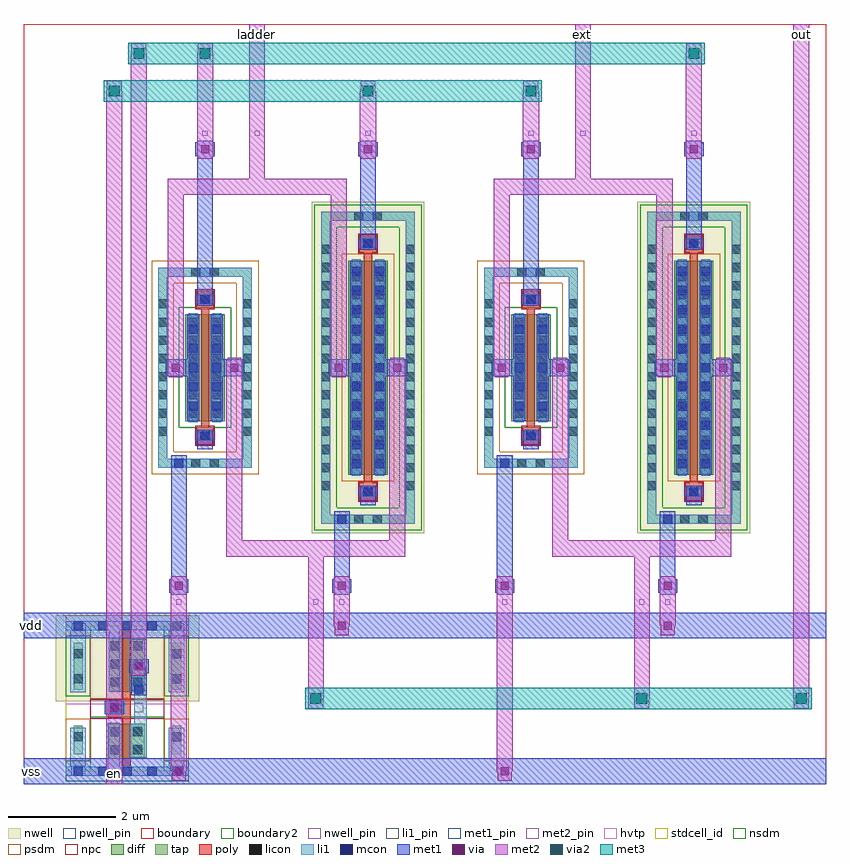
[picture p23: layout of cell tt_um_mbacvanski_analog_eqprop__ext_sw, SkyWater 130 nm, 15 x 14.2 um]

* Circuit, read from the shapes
.subckt tt_um_mbacvanski_analog_eqprop__ext_sw en ext ladder out vdd vss
XM1 sky130_fd_sc_hd__inv_1_2/Y en vss vss sky130_fd_pr__nfet_01v8 w=0.65 l=0.15
XM2 out sky130_fd_sc_hd__inv_1_2/Y ladder vss sky130_fd_pr__nfet_01v8 w=2 l=0.15
XM3 out en ext vss sky130_fd_pr__nfet_01v8 w=2 l=0.15
XM4 sky130_fd_sc_hd__inv_1_2/Y en vdd vdd sky130_fd_pr__pfet_01v8_hvt w=1 l=0.15
XM5 out en ladder vdd sky130_fd_pr__pfet_01v8 w=4 l=0.15
XM6 out sky130_fd_sc_hd__inv_1_2/Y ext vdd sky130_fd_pr__pfet_01v8 w=4 l=0.15
.ends

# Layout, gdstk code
import gdstk
lib = gdstk.Library(unit=1e-6, precision=1e-09)
def R(c, l, rs):  # rectangles x0, y0, x1, y1
    for r in rs: c.add(gdstk.rectangle(r[:2], r[2:], *l))
def A(c, l, x, y, w, h, nx, ny, dx, dy):  # array of equal rectangles
    R(c, l, [(x+i*dx, y+j*dy, x+i*dx+w, y+j*dy+h) for i in range(nx) for j in range(ny)])
def P(c, l, *ps):  # polygons
    for p in ps: c.add(gdstk.Polygon(p, *l))
nwell_pin = (64, 16)
nwell = (64, 20)
diff = (65, 20)
tap = (65, 44)
poly = (66, 20)
licon = (66, 44)
li1_pin = (67, 16)
li1 = (67, 20)
mcon = (67, 44)
met1_pin = (68, 16)
met1 = (68, 20)
via = (68, 44)
met2_pin = (69, 16)
met2 = (69, 20)
via2 = (69, 44)
met3 = (70, 20)
hvtp = (78, 44)
stdcell_id = (81, 4)
nsdm = (93, 44)
psdm = (94, 20)
npc = (95, 20)
pwell_pin = (122, 16)
boundary = (235, 4)
boundary2 = (236, 0)

sky130_fd_sc_hd__tapvpwr = lib.new_cell('sky130_fd_sc_hd__tapvpwrvgnd_1')
R(sky130_fd_sc_hd__tapvpwr, nwell, [(-0.19,1.305,0.65,2.91)])
R(sky130_fd_sc_hd__tapvpwr, tap, [(0.145,0.32,0.315,0.845), (0.145,1.525,0.315,2.4)])
R(sky130_fd_sc_hd__tapvpwr, licon, [(0.145,0.555,0.315,0.725), (0.145,1.645,0.315,1.815), (0.145,2.11,0.315,2.28)])
R(sky130_fd_sc_hd__tapvpwr, li1, [(0,-0.085,0.46,0.085), (0.085,0,0.375,0.81), (0.085,1.47,0.375,2.72), (0,2.635,0.46,2.805)])
R(sky130_fd_sc_hd__tapvpwr, mcon, [(0.145,-0.085,0.315,0.085), (0.145,2.635,0.315,2.805)])
R(sky130_fd_sc_hd__tapvpwr, met1_pin, [(0.105,-0.09,0.36,0.1), (0.11,2.62,0.375,2.765)])
R(sky130_fd_sc_hd__tapvpwr, met1, [(0,-0.24,0.46,0.24), (0,2.48,0.46,2.96)])
R(sky130_fd_sc_hd__tapvpwr, hvtp, [(0,1.25,0.46,2.72)])
R(sky130_fd_sc_hd__tapvpwr, stdcell_id, [(0,0,0.46,2.72)])
R(sky130_fd_sc_hd__tapvpwr, nsdm, [(0,-0.19,0.46,0.19), (0,1.395,0.46,2.53)])
R(sky130_fd_sc_hd__tapvpwr, psdm, [(0,0.19,0.46,0.975), (0,2.53,0.46,2.91)])
sky130_fd_sc_hd__tapvpwr.add(gdstk.Label('VGND', (0.23,0), layer=68, texttype=5))
sky130_fd_sc_hd__tapvpwr.add(gdstk.Label('VPWR', (0.23,2.72), layer=68, texttype=5))
sky130_fd_sc_hd__tapvpwr.add(gdstk.Label('tapvpwrvgnd_1', (0,0), layer=83, texttype=44))

sky130_fd_sc_hd__inv_1 = lib.new_cell('sky130_fd_sc_hd__inv_1')
R(sky130_fd_sc_hd__inv_1, nwell_pin, [(0.145,2.635,0.315,2.805), (0.145,2.635,0.315,2.805)])
R(sky130_fd_sc_hd__inv_1, nwell, [(-0.19,1.305,1.57,2.91)])
R(sky130_fd_sc_hd__inv_1, diff, [(0.34,0.235,1.01,0.885), (0.34,1.485,1.01,2.485)])
P(sky130_fd_sc_hd__inv_1, poly, [(0.6,0.105),(0.6,0.995),(0.32,0.995),(0.32,1.325),(0.6,1.325),(0.6,2.615),(0.75,2.615),(0.75,0.105)])
A(sky130_fd_sc_hd__inv_1, licon, 0.38, 1.575, 0.17, 0.17, 1, 3, 0, 0.34)
A(sky130_fd_sc_hd__inv_1, licon, 0.8, 1.575, 0.17, 0.17, 1, 3, 0, 0.34)
R(sky130_fd_sc_hd__inv_1, licon, [(0.38,0.315,0.55,0.485), (0.8,0.315,0.97,0.485), (0.38,0.655,0.55,0.825), (0.8,0.655,0.97,0.825), (0.4,1.075,0.57,1.245)])
R(sky130_fd_sc_hd__inv_1, li1_pin, [(0.36,1.105,0.53,1.275), (0.82,1.105,0.99,1.275), (0.82,1.445,0.99,1.615)])
R(sky130_fd_sc_hd__inv_1, li1, [(0,-0.085,1.38,0.085), (0.32,0.005,0.55,0.905), (0.32,1.075,0.65,1.315), (0.34,1.495,0.55,2.675), (0,2.635,1.38,2.805)])
P(sky130_fd_sc_hd__inv_1, li1, [(0.72,0.255),(0.72,0.885),(0.82,0.885),(0.82,1.485),(0.72,1.485),(0.72,2.465),(1.05,2.465),(1.05,0.255)])
A(sky130_fd_sc_hd__inv_1, mcon, 0.145, -0.085, 0.17, 0.17, 3, 2, 0.46, 2.72)
R(sky130_fd_sc_hd__inv_1, met1_pin, [(0.145,-0.085,0.315,0.085), (0.145,-0.085,0.315,0.085), (0.145,2.635,0.315,2.805), (0.145,2.635,0.315,2.805)])
R(sky130_fd_sc_hd__inv_1, hvtp, [(0,1.25,1.38,2.72)])
R(sky130_fd_sc_hd__inv_1, stdcell_id, [(0,0,1.38,2.72)])
R(sky130_fd_sc_hd__inv_1, nsdm, [(0,-0.19,1.38,1.015)])
R(sky130_fd_sc_hd__inv_1, psdm, [(0,1.355,1.38,2.91)])
R(sky130_fd_sc_hd__inv_1, npc, [(0,0.975,1.38,1.345)])
R(sky130_fd_sc_hd__inv_1, pwell_pin, [(0.145,-0.085,0.315,0.085), (0.145,-0.085,0.315,0.085)])
R(sky130_fd_sc_hd__inv_1, boundary2, [(0,0,1.38,2.72)])
sky130_fd_sc_hd__inv_1.add(gdstk.FlexPath([(0,0),(1.38,0)], 0.48, ends="flush", simple_path=True, layer=68, datatype=20))  # met1
sky130_fd_sc_hd__inv_1.add(gdstk.FlexPath([(0,2.72),(1.38,2.72)], 0.48, ends="flush", simple_path=True, layer=68, datatype=20))  # met1
sky130_fd_sc_hd__inv_1.add(gdstk.Label('A', (0.445,1.19), layer=67, texttype=5))
sky130_fd_sc_hd__inv_1.add(gdstk.Label('Y', (0.905,1.19), layer=67, texttype=5))
sky130_fd_sc_hd__inv_1.add(gdstk.Label('Y', (0.905,1.53), layer=67, texttype=5))
sky130_fd_sc_hd__inv_1.add(gdstk.Label('VPWR', (0.23,2.72), layer=68, texttype=5))
sky130_fd_sc_hd__inv_1.add(gdstk.Label('VGND', (0.23,0), layer=68, texttype=5))
sky130_fd_sc_hd__inv_1.add(gdstk.Label('inv_1', (0,0), layer=83, texttype=44))
sky130_fd_sc_hd__inv_1.add(gdstk.Label('VPB', (0.23,2.72), layer=64, texttype=5))
sky130_fd_sc_hd__inv_1.add(gdstk.Label('VNB', (0.23,0), layer=64, texttype=59))

tt_um_mbacvanski_analog_ = lib.new_cell('tt_um_mbacvanski_analog_eqprop__cp_tgn1')
R(tt_um_mbacvanski_analog_, diff, [(-0.365,-1,0.365,1)])
R(tt_um_mbacvanski_analog_, tap, [(-0.875,-1.87,0.875,-1.7), (-0.875,-1.7,-0.705,1.7), (0.705,-1.7,0.875,1.7), (-0.875,1.7,0.875,1.87)])
R(tt_um_mbacvanski_analog_, poly, [(-0.165,-1.44,0.165,-1.11), (-0.075,-1.11,0.075,1.11), (-0.165,1.11,0.165,1.44)])
A(tt_um_mbacvanski_analog_, licon, -0.875, -1.275, 0.17, 0.17, 1, 8, 0, 0.34)
A(tt_um_mbacvanski_analog_, licon, 0.705, -1.275, 0.17, 0.17, 1, 8, 0, 0.34)
A(tt_um_mbacvanski_analog_, licon, -0.305, -0.935, 0.17, 0.17, 1, 6, 0, 0.34)
A(tt_um_mbacvanski_analog_, licon, 0.135, -0.935, 0.17, 0.17, 1, 6, 0, 0.34)
R(tt_um_mbacvanski_analog_, licon, [(-0.255,-1.87,-0.085,-1.7), (0.085,-1.87,0.255,-1.7), (-0.085,-1.36,0.085,-1.19), (-0.085,1.19,0.085,1.36), (-0.255,1.7,-0.085,1.87), (0.085,1.7,0.255,1.87)])
R(tt_um_mbacvanski_analog_, li1, [(-0.875,-1.87,0.875,-1.7), (-0.875,-1.7,-0.705,1.7), (0.705,-1.7,0.875,1.7), (-0.165,-1.36,0.165,-1.19), (-0.305,-1.02,-0.135,1.02), (0.135,-1.02,0.305,1.02), (-0.165,1.19,0.165,1.36), (-0.875,1.7,0.875,1.87)])
A(tt_um_mbacvanski_analog_, mcon, -0.305, -0.805, 0.17, 0.17, 1, 5, 0, 0.36)
A(tt_um_mbacvanski_analog_, mcon, 0.135, -0.805, 0.17, 0.17, 1, 5, 0, 0.36)
R(tt_um_mbacvanski_analog_, mcon, [(-0.085,-1.36,0.085,-1.19), (-0.085,1.19,0.085,1.36)])
R(tt_um_mbacvanski_analog_, met1, [(-0.145,-1.39,0.145,-1.16), (-0.335,-1,-0.105,1), (0.105,-1,0.335,1), (-0.145,1.16,0.145,1.39)])
R(tt_um_mbacvanski_analog_, nsdm, [(-0.49,-1.125,0.49,1.125)])
R(tt_um_mbacvanski_analog_, psdm, [(-1,-1.995,1,-1.575), (-1,-1.575,-0.58,1.575), (0.58,-1.575,1,1.575), (-1,1.575,1,1.995)])
R(tt_um_mbacvanski_analog_, npc, [(-0.185,-1.46,0.185,-1.09), (-0.185,1.09,0.185,1.46)])
R(tt_um_mbacvanski_analog_, boundary, [(-0.79,-1.785,0.79,1.785)])
tt_um_mbacvanski_analog_.add(gdstk.Label('G', (0,1.275), layer=67, texttype=5))
tt_um_mbacvanski_analog_.add(gdstk.Label('S', (0.22,0), layer=67, texttype=5))
tt_um_mbacvanski_analog_.add(gdstk.Label('D', (-0.22,0), layer=67, texttype=5))
tt_um_mbacvanski_analog_.add(gdstk.Label('B', (0,-1.785), layer=67, texttype=5))

c_tt_um_mbacvanski_analog_ = lib.new_cell('tt_um_mbacvanski_analog_eqprop__cp_tgp1')
R(c_tt_um_mbacvanski_analog_, nwell, [(-1.055,-3.095,1.055,3.095)])
R(c_tt_um_mbacvanski_analog_, diff, [(-0.365,-2,0.365,2)])
R(c_tt_um_mbacvanski_analog_, tap, [(-0.875,-2.915,0.875,-2.745), (-0.875,-2.745,-0.705,2.745), (0.705,-2.745,0.875,2.745), (-0.875,2.745,0.875,2.915)])
R(c_tt_um_mbacvanski_analog_, poly, [(-0.165,-2.485,0.165,-2.155), (-0.075,-2.155,0.075,2.155), (-0.165,2.155,0.165,2.485)])
A(c_tt_um_mbacvanski_analog_, licon, -0.875, -2.295, 0.17, 0.17, 1, 14, 0, 0.34)
A(c_tt_um_mbacvanski_analog_, licon, 0.705, -2.295, 0.17, 0.17, 1, 14, 0, 0.34)
A(c_tt_um_mbacvanski_analog_, licon, -0.305, -1.785, 0.17, 0.17, 1, 11, 0, 0.34)
A(c_tt_um_mbacvanski_analog_, licon, 0.135, -1.785, 0.17, 0.17, 1, 11, 0, 0.34)
R(c_tt_um_mbacvanski_analog_, licon, [(-0.255,-2.915,-0.085,-2.745), (0.085,-2.915,0.255,-2.745), (-0.085,-2.405,0.085,-2.235), (-0.085,2.235,0.085,2.405), (-0.255,2.745,-0.085,2.915), (0.085,2.745,0.255,2.915)])
R(c_tt_um_mbacvanski_analog_, li1, [(-0.875,-2.915,0.875,-2.745), (-0.875,-2.745,-0.705,2.745), (0.705,-2.745,0.875,2.745), (-0.165,-2.405,0.165,-2.235), (-0.305,-2.02,-0.135,2.02), (0.135,-2.02,0.305,2.02), (-0.165,2.235,0.165,2.405), (-0.875,2.745,0.875,2.915)])
A(c_tt_um_mbacvanski_analog_, mcon, -0.305, -1.885, 0.17, 0.17, 1, 11, 0, 0.36)
A(c_tt_um_mbacvanski_analog_, mcon, 0.135, -1.885, 0.17, 0.17, 1, 11, 0, 0.36)
R(c_tt_um_mbacvanski_analog_, mcon, [(-0.085,-2.405,0.085,-2.235), (-0.085,2.235,0.085,2.405)])
R(c_tt_um_mbacvanski_analog_, met1, [(-0.145,-2.435,0.145,-2.205), (-0.335,-2,-0.105,2), (0.105,-2,0.335,2), (-0.145,2.205,0.145,2.435)])
R(c_tt_um_mbacvanski_analog_, nsdm, [(-1,-3.04,1,-2.62), (-1,-2.62,-0.58,2.62), (0.58,-2.62,1,2.62), (-1,2.62,1,3.04)])
R(c_tt_um_mbacvanski_analog_, psdm, [(-0.49,-2.125,0.49,2.125)])
R(c_tt_um_mbacvanski_analog_, npc, [(-0.185,-2.505,0.185,-2.135), (-0.185,2.135,0.185,2.505)])
R(c_tt_um_mbacvanski_analog_, boundary, [(-0.79,-2.83,0.79,2.83)])
c_tt_um_mbacvanski_analog_.add(gdstk.Label('G', (0,2.32), layer=67, texttype=5))
c_tt_um_mbacvanski_analog_.add(gdstk.Label('S', (0.22,0), layer=67, texttype=5))
c_tt_um_mbacvanski_analog_.add(gdstk.Label('D', (-0.22,0), layer=67, texttype=5))
c_tt_um_mbacvanski_analog_.add(gdstk.Label('B', (0,-2.83), layer=67, texttype=5))

c_tt_um_mbacvanski_analog__ = lib.new_cell('tt_um_mbacvanski_analog_eqprop__cp_tg1')
R(c_tt_um_mbacvanski_analog__, li1, [(3.86,1.665,4.03,1.835), (0.815,2.71,0.985,2.88)])
R(c_tt_um_mbacvanski_analog__, mcon, [(3.86,1.665,4.03,1.835), (0.815,2.71,0.985,2.88)])
R(c_tt_um_mbacvanski_analog__, met1, [(0.755,0.34,1.045,0.37), (3.8,0.34,4.09,0.37), (0.72,0.37,1.08,0.63), (3.765,0.37,4.125,0.63), (0.755,0.63,1.045,2.94), (3.8,0.63,4.09,1.895), (4.29,2.01,4.58,2.375), (1.245,3.055,1.535,3.42), (0.68,4.42,1.285,4.45), (1.495,4.42,2.1,4.45), (3.725,4.42,4.33,4.45), (4.54,4.42,5.145,4.45), (0.66,4.45,1.285,4.71), (1.495,4.45,2.12,4.71), (3.705,4.45,4.33,4.71), (4.54,4.45,5.165,4.71), (0.68,4.71,1.285,4.74), (1.495,4.71,2.1,4.74), (3.725,4.71,4.33,4.74), (4.54,4.71,5.145,4.74), (1.245,5.74,1.535,8.53), (4.29,6.785,4.58,8.53), (1.21,8.53,1.57,8.79), (4.255,8.53,4.615,8.79), (1.245,8.79,1.535,8.82), (4.29,8.79,4.58,8.82)])
R(c_tt_um_mbacvanski_analog__, via, [(0.825,0.425,0.975,0.575), (3.87,0.425,4.02,0.575), (0.765,4.505,0.915,4.655), (1.865,4.505,2.015,4.655), (3.81,4.505,3.96,4.655), (4.91,4.505,5.06,4.655), (1.315,8.585,1.465,8.735), (4.36,8.585,4.51,8.735)])
R(c_tt_um_mbacvanski_analog__, met2_pin, [(0.85,0.15,0.95,0.25), (3.415,0.15,3.51,0.25), (3.895,0.15,3.995,0.25), (1.34,8.91,1.44,9.01), (2.315,8.91,2.41,9.01), (4.385,8.91,4.485,9.01)])
R(c_tt_um_mbacvanski_analog__, met2, [(0.75,-0.15,1.05,0.65), (3.315,-0.15,3.61,1.05), (3.795,-0.15,4.095,0.65), (0.77,0.65,1.03,0.68), (3.815,0.65,4.075,0.68), (1.79,1.05,5.135,1.35), (1.79,1.35,2.09,4.73), (4.835,1.35,5.135,4.73), (0.71,4.4,0.97,4.43), (3.755,4.4,4.015,4.43), (0.69,4.43,0.99,7.81), (3.735,4.43,4.035,7.81), (1.81,4.73,2.07,4.76), (4.855,4.73,5.115,4.76), (0.69,7.81,4.035,8.11), (2.215,8.11,2.51,9.31), (1.26,8.48,1.52,8.51), (4.305,8.48,4.565,8.51), (1.24,8.51,1.54,9.31), (4.285,8.51,4.585,9.31)])
R(c_tt_um_mbacvanski_analog__, boundary, [(0,0,6.09,9.16)])
c_tt_um_mbacvanski_analog__.add(gdstk.Reference(tt_um_mbacvanski_analog_, (1.39,4.58)))
c_tt_um_mbacvanski_analog__.add(gdstk.Reference(c_tt_um_mbacvanski_analog_, (4.435,4.58)))
c_tt_um_mbacvanski_analog__.add(gdstk.Label('vss', (0.9,0.2), layer=69, texttype=5))
c_tt_um_mbacvanski_analog__.add(gdstk.Label('vdd', (3.945,0.2), layer=69, texttype=5))
c_tt_um_mbacvanski_analog__.add(gdstk.Label('en_b', (4.435,8.96), layer=69, texttype=5))
c_tt_um_mbacvanski_analog__.add(gdstk.Label('en', (1.39,8.96), layer=69, texttype=5))
c_tt_um_mbacvanski_analog__.add(gdstk.Label('b', (3.462,0.2), layer=69, texttype=5))
c_tt_um_mbacvanski_analog__.add(gdstk.Label('a', (2.362,8.96), layer=69, texttype=5))

c_tt_um_mbacvanski_analog___ = lib.new_cell('tt_um_mbacvanski_analog_eqprop__ext_sw')
R(c_tt_um_mbacvanski_analog___, li1, [(1.61,1.345,1.78,1.515), (2.07,1.685,2.24,1.855)])
R(c_tt_um_mbacvanski_analog___, mcon, [(1.61,1.345,1.78,1.515), (2.07,1.685,2.24,1.855)])
R(c_tt_um_mbacvanski_analog___, met1_pin, [(0.1,0.19,0.2,0.29), (0.1,2.91,0.2,3.01)])
R(c_tt_um_mbacvanski_analog___, met1, [(0,0,15,0.48), (1.515,1.3,1.875,1.56), (2.01,1.655,2.3,2.07), (1.975,2.07,2.335,2.33), (0,2.72,15,3.2)])
R(c_tt_um_mbacvanski_analog___, via, [(2.825,0.165,2.975,0.315), (8.915,0.165,9.065,0.315), (1.62,1.355,1.77,1.505), (2.08,2.125,2.23,2.275), (5.87,2.885,6.02,3.035), (11.96,2.885,12.11,3.035)])
R(c_tt_um_mbacvanski_analog___, met2_pin, [(1.645,0.15,1.745,0.25), (4.31,13.95,4.41,14.05), (10.4,13.95,10.5,14.05), (14.48,13.95,14.58,14.05)])
R(c_tt_um_mbacvanski_analog___, met2, [(1.545,0,1.845,12.95), (2.77,0.06,3.03,0.24), (8.86,0.06,9.12,0.24), (2.75,0.24,3.05,3.05), (8.84,0.24,9.14,3.05), (5.32,1.41,5.6,1.6), (11.41,1.41,11.69,1.6), (14.39,1.41,14.67,1.6), (5.315,1.6,5.61,3.05), (11.405,1.6,11.7,3.05), (14.38,1.6,14.68,14.2), (2.025,2.02,2.285,2.2), (2.005,2.2,2.305,13.65), (5.815,2.78,6.075,2.96), (11.905,2.78,12.165,2.96), (5.795,2.96,6.095,3.05), (11.885,2.96,12.185,3.05), (5.815,3.05,6.075,3.14), (11.905,3.05,12.165,3.14), (3.24,12.51,3.54,13.65), (4.215,12.51,4.51,14.2), (6.285,12.51,6.585,12.95), (9.33,12.51,9.63,12.95), (10.305,12.51,10.6,14.2), (12.375,12.51,12.675,13.65), (1.555,12.95,1.835,13.14), (6.295,12.95,6.575,13.14), (9.34,12.95,9.62,13.14), (2.015,13.65,2.295,13.84), (3.25,13.65,3.53,13.84), (12.385,13.65,12.665,13.84)])
R(c_tt_um_mbacvanski_analog___, via2, [(5.36,1.5,5.56,1.7), (11.45,1.5,11.65,1.7), (14.43,1.5,14.63,1.7), (1.595,12.85,1.795,13.05), (6.335,12.85,6.535,13.05), (9.38,12.85,9.58,13.05), (2.055,13.55,2.255,13.75), (3.29,13.55,3.49,13.75), (12.425,13.55,12.625,13.75)])
R(c_tt_um_mbacvanski_analog___, met3, [(5.26,1.4,14.73,1.8), (1.495,12.75,9.68,13.15), (1.955,13.45,12.725,13.85)])
R(c_tt_um_mbacvanski_analog___, boundary, [(0,0,15,14.2)])
c_tt_um_mbacvanski_analog___.add(gdstk.Reference(sky130_fd_sc_hd__tapvpwr, (0.79,0.24)))
c_tt_um_mbacvanski_analog___.add(gdstk.Reference(sky130_fd_sc_hd__tapvpwr, (2.63,0.24)))
c_tt_um_mbacvanski_analog___.add(gdstk.Reference(sky130_fd_sc_hd__inv_1, (1.25,0.24)))
c_tt_um_mbacvanski_analog___.add(gdstk.Reference(c_tt_um_mbacvanski_analog__, (8.09,3.2)))
c_tt_um_mbacvanski_analog___.add(gdstk.Reference(c_tt_um_mbacvanski_analog__, (2,3.2)))
c_tt_um_mbacvanski_analog___.add(gdstk.Label('vss', (0.15,0.24), layer=68, texttype=5))
c_tt_um_mbacvanski_analog___.add(gdstk.Label('vdd', (0.15,2.96), layer=68, texttype=5))
c_tt_um_mbacvanski_analog___.add(gdstk.Label('out', (14.53,14), layer=69, texttype=5))
c_tt_um_mbacvanski_analog___.add(gdstk.Label('en', (1.695,0.2), layer=69, texttype=5))
c_tt_um_mbacvanski_analog___.add(gdstk.Label('ext', (10.45,14), layer=69, texttype=5))
c_tt_um_mbacvanski_analog___.add(gdstk.Label('ladder', (4.36,14), layer=69, texttype=5))

lib.write_gds('tt_um_mbacvanski_analog_eqprop__ext_sw.gds')
